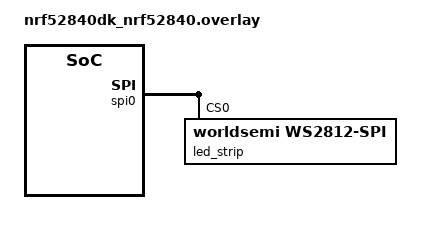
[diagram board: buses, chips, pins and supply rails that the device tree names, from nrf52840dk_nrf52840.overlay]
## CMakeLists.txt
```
cmake_minimum_required(VERSION 3.20.0)
find_package(Zephyr REQUIRED HINTS $ENV{ZEPHYR_BASE})

project(argb_led)

target_sources(app PRIVATE src/main.c)
```

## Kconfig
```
# Copyright (c) 2019 Nordic Semiconductor ASA
# SPDX-License-Identifier: Apache-2.0

menu "WS2812 Sample Configuration"

config SAMPLE_LED_UPDATE_DELAY
	int "Delay between LED updates in ms"
	default 50
	help
	  Delay between LED updates in ms.

config SAMPLE_LED_BRIGHTNESS
	int "LED brightness"
	default 16
	range 1 255
	help
	  Brightness level of each LED. Defaults to a low value to make
	  it easier to distinguish colors.

endmenu

source "Kconfig.zephyr"
```

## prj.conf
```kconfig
CONFIG_GPIO=y
CONFIG_SPI=y
CONFIG_LOG=y
CONFIG_LED_STRIP=y
CONFIG_LED_STRIP_LOG_LEVEL_DBG=y
```

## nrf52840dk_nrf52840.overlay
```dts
// To get started, press Ctrl+Space to bring up the completion menu and view the available nodes.

// You can also use the buttons in the sidebar to perform actions on nodes.
// Actions currently available include:

// * Enabling / disabling the node
// * Adding the bus to a bus
// * Removing the node
// * Connecting ADC channels

// For more help, browse the DeviceTree documentation at https://docs.zephyrproject.org/latest/guides/dts/index.html
// You can also visit the nRF DeviceTree extension documentation at https://docs.nordicsemi.com/bundle/nrf-connect-vscode/page/guides/ncs_configure_app.html#devicetree-support-in-the-extension

#include <zephyr/dt-bindings/led/led.h>

#include "nrf_bindings.h"

&spi0 {
	// led_strip: ws2812-spi@0 {
	// 	compatible = "worldsemi,ws2812-spi";

    //     /* SPI */
	// 	reg = <0>; /* ignored, but necessary for SPI bindings */
	// 	spi-max-frequency = <SPI_FREQ>;

	// 	/* WS2812 */
	// 	chain-length = <16>; /* arbitrary; change at will */
	// 	spi-one-frame = <ONE_FRAME>;    //  dependent on SPI frequency
	// 	spi-zero-frame = <ZERO_FRAME>;  // and desired duty cycle

    //     // Define subpixel layout of RGB LED, typically GRB
    //     // Allows for application to only send RGB values, and have devicetree implementation
    //     //  figure out subpixel layout separately  
    //     color-mapping = <LED_COLOR_ID_GREEN 
    //         LED_COLOR_ID_RED
    //         LED_COLOR_ID_BLUE>;
	// };

    led_strip: sk6812-spi@0 {
        compatible = "worldsemi,ws2812-spi";

        reg = <0>;
        spi-max-frequency = <SPI_FREQ>;

        /* SK6812 */
        chain-length = <72>;
        spi-one-frame = <ONE_FRAME>;
        spi-zero-frame = <ZERO_FRAME>;

        /* Subpixel layout of SK6812 */
        color-mapping = <LED_COLOR_ID_GREEN
                         LED_COLOR_ID_RED
                         LED_COLOR_ID_BLUE
                         LED_COLOR_ID_WHITE>;
    };

	status = "okay";    // Enable SPI device
};

/ {
    aliases 
    {
        led-strip = &led_strip;
    };
};
&spi1 {
	status = "disabled";
};

&spi3 {
	status = "disabled";
};
```

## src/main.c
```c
/*
 * Copyright (c) 2017 Linaro Limited
 * Copyright (c) 2018 Intel Corporation
 *
 * SPDX-License-Identifier: Apache-2.0
 */

#include <errno.h>
#include <string.h>

#define LOG_LEVEL 4
#include <zephyr/logging/log.h>
LOG_MODULE_REGISTER(main);

#include <zephyr/drivers/led_strip.h>
#include <zephyr/device.h>
#include <zephyr/drivers/spi.h>
#include <zephyr/sys/util.h>

#define STRIP_NODE		DT_ALIAS(led_strip)
#define STRIP_NUM_PIXELS	DT_PROP(DT_ALIAS(led_strip), chain_length)

#define DELAY_TIME K_MSEC(15)

#define RGB(_r, _g, _b) { .r = (_r), .g = (_g), .b = (_b) }

static const struct led_rgb colors[] = {
	RGB(0x0f, 0x00, 0x00), /* red */
	RGB(0x00, 0x0f, 0x00), /* green */
	RGB(0x00, 0x00, 0x0f), /* blue */
    RGB(0x0f, 0x0f, 0x0f), /* white */
};

struct led_rgb pixels[STRIP_NUM_PIXELS];

static const struct device *strip = DEVICE_DT_GET(STRIP_NODE);

int main()
{
	size_t cursor = 0, color = 0;
	int rc;

	if (device_is_ready(strip)) {
		LOG_INF("Found LED strip device %s", strip->name);
	} else {
		LOG_ERR("LED strip device %s is not ready", strip->name);
		return 0;
	}

	LOG_INF("Displaying pattern on strip");
	while (1) {
		memset(&pixels, 0x00, sizeof(pixels));
		memcpy(&pixels[cursor], &colors[color], sizeof(struct led_rgb));
		rc = led_strip_update_rgb(strip, pixels, STRIP_NUM_PIXELS);

		if (rc) {
			LOG_ERR("couldn't update strip: %d", rc);
		}

		cursor++;
		if (cursor >= STRIP_NUM_PIXELS) {
			cursor = 0;
			color++;
			if (color == ARRAY_SIZE(colors)) {
				color = 0;
			}
		}

		k_sleep(DELAY_TIME);
	}

    return 0;
}
```
